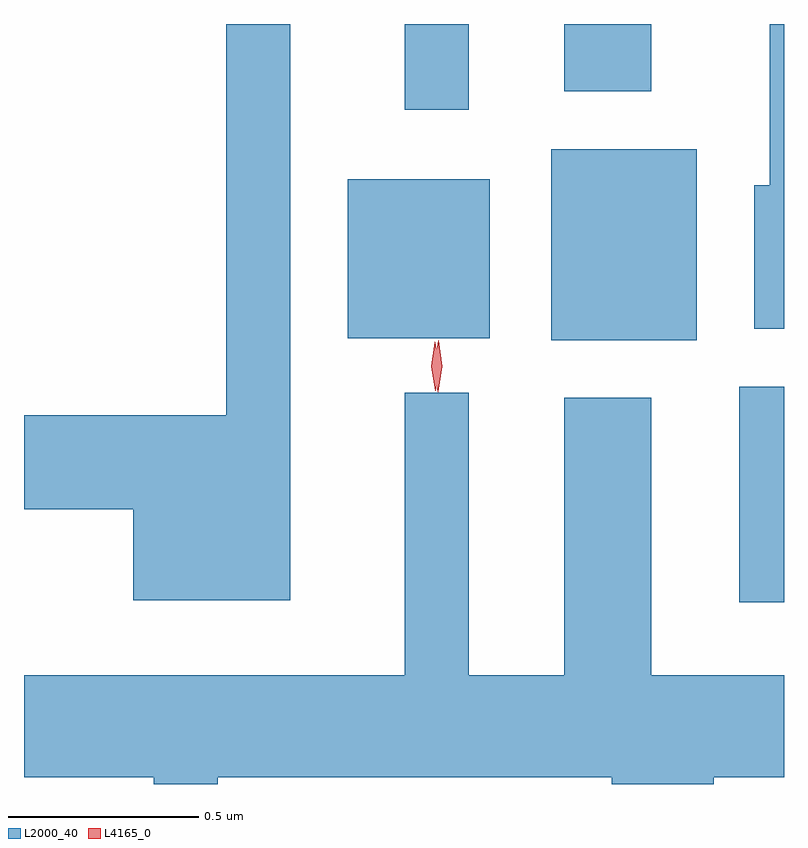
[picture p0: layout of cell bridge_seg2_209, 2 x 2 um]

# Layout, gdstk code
import gdstk
lib = gdstk.Library(unit=1e-6, precision=1e-09)
def R(c, l, rs):  # rectangles x0, y0, x1, y1
    for r in rs: c.add(gdstk.rectangle(r[:2], r[2:], *l))
def P(c, l, *ps):  # polygons
    for p in ps: c.add(gdstk.Polygon(p, *l))
L2000_40 = (2000, 40)
L4165_0 = (4165, 0)

bridge_seg2_209 = lib.new_cell('bridge_seg2_209')
R(bridge_seg2_209, L2000_40, [(974.651,986.616,974.769,987.184), (974.156,987.306,974.539,987.809), (973.621,987.311,973.994,987.729), (973.771,987.913,973.939,988.138), (974.191,987.961,974.419,988.138)])
P(bridge_seg2_209, L2000_40, [(974.769,988.138),(974.731,988.138),(974.731,987.714),(974.691,987.714),(974.691,987.336),(974.769,987.336)],
  [(973.469,988.138),(973.301,988.138),(973.301,987.109),(972.769,987.109),(972.769,986.861),(973.056,986.861),(973.056,986.621),(973.469,986.621)],
  [(973.279,986.156),(974.316,986.156),(974.316,986.138),(974.584,986.138),(974.584,986.156),(974.769,986.156),(974.769,986.424),(974.419,986.424),(974.419,987.154),(974.191,987.154),(974.191,986.424),(973.939,986.424),(973.939,987.168),(973.771,987.168),(973.771,986.424),(972.769,986.424),(972.769,986.156),(973.111,986.156),(973.111,986.138),(973.279,986.138)])
P(bridge_seg2_209, L4165_0, [(973.851,987.173),(973.851,987.173),(973.841,987.237),(973.85,987.301),(973.85,987.302),(973.851,987.301),(973.861,987.237),(973.852,987.173)],
  [(973.859,987.169),(973.858,987.17),(973.849,987.238),(973.859,987.305),(973.86,987.306),(973.86,987.305),(973.869,987.238),(973.859,987.17)])

lib.write_gds('bridge_seg2_209.gds')
